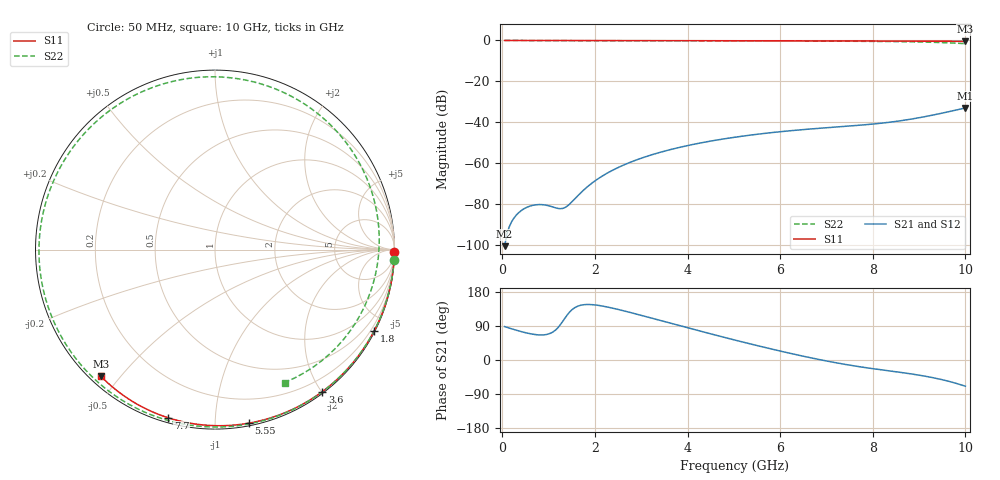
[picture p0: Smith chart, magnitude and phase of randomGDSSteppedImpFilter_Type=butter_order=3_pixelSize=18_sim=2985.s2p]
! freq	dB(S11)	phase(S11)	dB(S12)	phase(S12)
!  dB(S21)	phase(S21)	dB(S22)	phase(S22)
!S-par simulation data
#  GHz  S  DB  R 50
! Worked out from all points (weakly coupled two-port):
!   200 points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, 50 MHz to 10 GHz, reference 50 ohm
!   highest |S21| = -32.92 dB at 10 GHz (marker M1); lowest = -100.3 dB at 50 MHz (marker M2)
!   lowest |S11| = -0.4 dB at 10 GHz (marker M3), VSWR 38.90, Z = 1.54 - j22.3 ohm
!   |S11| at or under -10 dB: nowhere
!   |S22| runs from -1.6 to 0.0 dB; largest |S21 - S12| = 0
!   S11 on the Smith chart (normalised r, x): 50 MHz: open; 1.8 GHz: 0.04, -4.16; 3.6 GHz: 0.02, -2.01; 5.55 GHz: 0.02, -1.21; 7.7 GHz: 0.02, -0.76; 10 GHz: 0.03, -0.45
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0.05  -0.00 -0.8  -100.33 88.1  -100.33 88.1  -0.00 -3.2
0.45  -0.01 -6.8  -82.35 73.6  -82.35 73.6  -0.04 -28.1
0.9  -0.02 -13.6  -80.18 66.4  -80.18 66.4  -0.07 -54.7
1.45  -0.03 -21.9  -79.89 126.0  -79.89 126.0  -0.09 -83.9
1.75  -0.03 -26.3  -73.10 145.7  -73.10 145.7  -0.11 -98.2
1.8  -0.03 -27.0  -72.08 146.3  -72.08 146.3  -0.11 -100.4
2.45  -0.05 -36.5  -62.52 134.9  -62.52 134.9  -0.13 -127.5
2.9  -0.06 -43.0  -58.23 121.1  -58.23 121.1  -0.14 -144.0
3.4  -0.07 -50.1  -54.61 104.7  -54.61 104.7  -0.15 -160.9
3.6  -0.07 -52.9  -53.40 98.2  -53.40 98.2  -0.15 -167.3
4.3  -0.09 -62.5  -49.90 75.4  -49.90 75.4  -0.18 171.4
5.05  -0.11 -72.5  -47.10 51.8  -47.10 51.8  -0.21 149.3
5.55  -0.13 -79.0  -45.62 36.7  -45.62 36.7  -0.24 134.6
6.15  -0.15 -86.6  -44.18 19.4  -44.18 19.4  -0.27 116.4
6.7  -0.18 -93.4  -43.09 4.8  -43.09 4.8  -0.31 98.9
7.2  -0.21 -99.5  -42.23 -7.2  -42.23 -7.2  -0.35 81.9
7.7  -0.24 -105.5  -41.37 -17.5  -41.37 -17.5  -0.41 63.5
8.35  -0.29 -113.1  -39.92 -28.6  -39.92 -28.6  -0.52 36.8
8.85  -0.33 -118.8  -38.28 -37.1  -38.28 -37.1  -0.68 13.1
9.25  -0.37 -123.4  -36.61 -45.5  -36.61 -45.5  -0.87 -8.9
9.65  -0.41 -128.0  -34.70 -56.5  -34.70 -56.5  -1.17 -34.9
10  -0.45 -131.9  -32.92 -69.3  -32.92 -69.3  -1.56 -62.4
